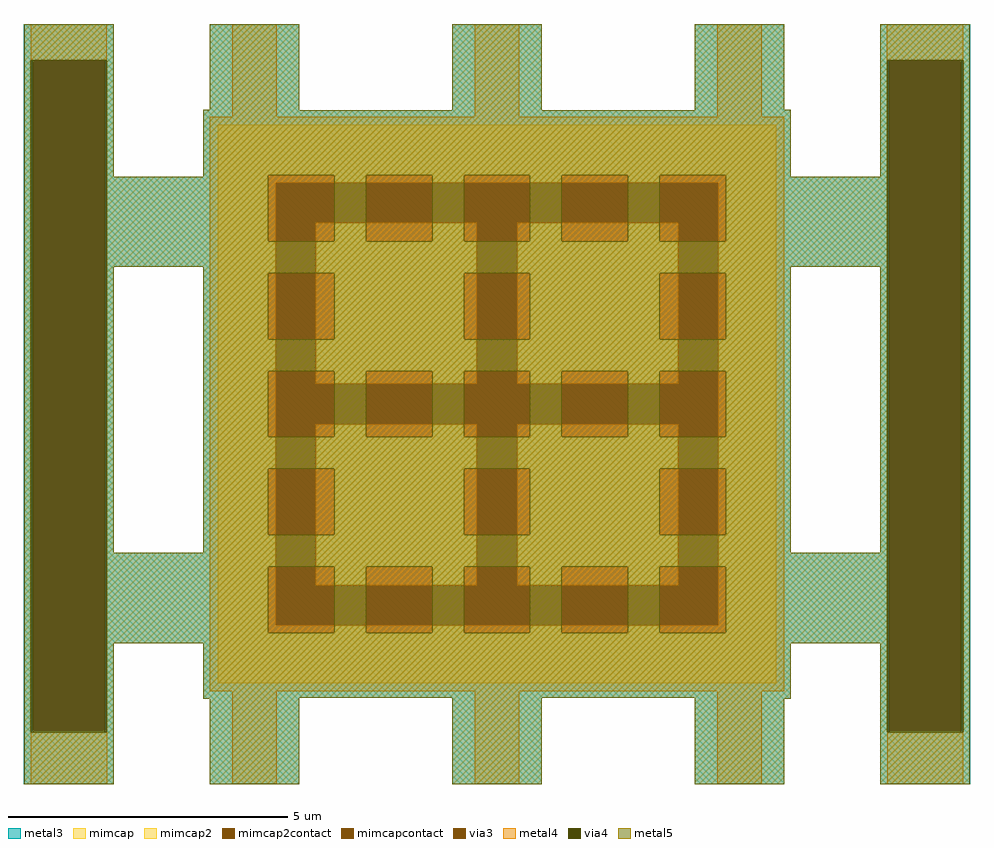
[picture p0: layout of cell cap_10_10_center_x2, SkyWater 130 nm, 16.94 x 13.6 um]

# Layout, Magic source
magic
tech sky130A
magscale 1 2
<< metal3 >>
rect -710 2224 -388 2354
rect -710 -180 -677 2224
rect -419 1808 -388 2224
rect -44 2048 276 2354
rect -68 2046 276 2048
rect 824 2046 1144 2354
rect 1692 2048 2012 2354
rect 2356 2224 2678 2354
rect 1692 2046 2036 2048
rect -68 1808 2036 2046
rect 2356 1808 2387 2224
rect -419 1485 2387 1808
rect -419 461 -388 1485
rect -68 461 2036 1485
rect 2356 461 2387 1485
rect -419 138 2387 461
rect -419 -180 -388 138
rect -68 -58 2036 138
rect -68 -60 276 -58
rect -710 -366 -388 -180
rect -44 -366 276 -60
rect 824 -366 1144 -58
rect 1692 -60 2036 -58
rect 1692 -366 2012 -60
rect 2356 -180 2387 138
rect 2645 -180 2678 2224
rect 2356 -366 2678 -180
<< via3 >>
rect -677 -180 -419 2224
rect 2387 -180 2645 2224
<< mimcap >>
rect -16 1786 1984 1994
rect -16 202 192 1786
rect 336 1066 912 1642
rect 1056 1066 1632 1642
rect 336 346 912 922
rect 1056 346 1632 922
rect 1776 202 1984 1786
rect -16 -6 1984 202
<< mimcapcontact >>
rect 192 1642 1776 1786
rect 192 1066 336 1642
rect 912 1066 1056 1642
rect 1632 1066 1776 1642
rect 192 922 1776 1066
rect 192 346 336 922
rect 912 346 1056 922
rect 1632 346 1776 922
rect 192 202 1776 346
<< metal4 >>
rect -685 2224 -412 2354
rect -685 2168 -684 2224
rect 36 2022 196 2354
rect 904 2022 1064 2354
rect 1772 2022 1932 2354
rect 2379 2224 2652 2354
rect 2379 2168 2380 2224
rect -44 1786 2012 2022
rect -44 202 192 1786
rect 336 1066 912 1642
rect 1056 1066 1632 1642
rect 336 346 912 922
rect 1056 346 1632 922
rect 1776 202 2012 1786
rect -44 -34 2012 202
rect -684 -366 -411 -180
rect 36 -366 196 -34
rect 904 -366 1064 -34
rect 1772 -366 1932 -34
rect 2380 -366 2653 -180
<< via4 >>
rect -684 -180 -677 2224
rect -677 -180 -419 2224
rect -419 -180 -412 2224
rect 2380 -180 2387 2224
rect 2387 -180 2645 2224
rect 2645 -180 2652 2224
<< mimcap2 >>
rect -16 1812 1984 1994
rect -16 1576 166 1812
rect 402 1576 516 1812
rect 752 1576 866 1812
rect 1102 1576 1216 1812
rect 1452 1576 1566 1812
rect 1802 1576 1984 1812
rect -16 1462 1984 1576
rect -16 1226 166 1462
rect 402 1226 866 1462
rect 1102 1226 1566 1462
rect 1802 1226 1984 1462
rect -16 1112 1984 1226
rect -16 876 166 1112
rect 402 876 516 1112
rect 752 876 866 1112
rect 1102 876 1216 1112
rect 1452 876 1566 1112
rect 1802 876 1984 1112
rect -16 762 1984 876
rect -16 526 166 762
rect 402 526 866 762
rect 1102 526 1566 762
rect 1802 526 1984 762
rect -16 412 1984 526
rect -16 176 166 412
rect 402 176 516 412
rect 752 176 866 412
rect 1102 176 1216 412
rect 1452 176 1566 412
rect 1802 176 1984 412
rect -16 -6 1984 176
<< mimcap2contact >>
rect 166 1576 402 1812
rect 516 1576 752 1812
rect 866 1576 1102 1812
rect 1216 1576 1452 1812
rect 1566 1576 1802 1812
rect 166 1226 402 1462
rect 866 1226 1102 1462
rect 1566 1226 1802 1462
rect 166 876 402 1112
rect 516 876 752 1112
rect 866 876 1102 1112
rect 1216 876 1452 1112
rect 1566 876 1802 1112
rect 166 526 402 762
rect 866 526 1102 762
rect 1566 526 1802 762
rect 166 176 402 412
rect 516 176 752 412
rect 866 176 1102 412
rect 1216 176 1452 412
rect 1566 176 1802 412
<< metal5 >>
rect -708 2224 -388 2354
rect -708 -180 -684 2224
rect -412 1808 -388 2224
rect -44 2048 276 2354
rect -68 2046 276 2048
rect 824 2046 1144 2354
rect 1692 2048 2012 2354
rect 2356 2224 2676 2354
rect 1692 2046 2036 2048
rect -68 1812 2036 2046
rect -68 1808 166 1812
rect -412 1576 166 1808
rect 402 1576 516 1812
rect 752 1576 866 1812
rect 1102 1576 1216 1812
rect 1452 1576 1566 1812
rect 1802 1808 2036 1812
rect 2356 1808 2380 2224
rect 1802 1576 2380 1808
rect -412 1485 2380 1576
rect -412 461 -388 1485
rect -68 1462 2036 1485
rect -68 1226 166 1462
rect 402 1226 866 1462
rect 1102 1226 1566 1462
rect 1802 1226 2036 1462
rect -68 1112 2036 1226
rect -68 876 166 1112
rect 402 876 516 1112
rect 752 876 866 1112
rect 1102 876 1216 1112
rect 1452 876 1566 1112
rect 1802 876 2036 1112
rect -68 762 2036 876
rect -68 526 166 762
rect 402 526 866 762
rect 1102 526 1566 762
rect 1802 526 2036 762
rect -68 461 2036 526
rect 2356 461 2380 1485
rect -412 412 2380 461
rect -412 176 166 412
rect 402 176 516 412
rect 752 176 866 412
rect 1102 176 1216 412
rect 1452 176 1566 412
rect 1802 176 2380 412
rect -412 138 2380 176
rect -412 -180 -388 138
rect -68 -58 2036 138
rect -68 -60 276 -58
rect -708 -366 -388 -180
rect -44 -366 276 -60
rect 824 -366 1144 -58
rect 1692 -60 2036 -58
rect 1692 -366 2012 -60
rect 2356 -180 2380 138
rect 2652 -180 2676 2224
rect 2356 -366 2676 -180
<< end >>
